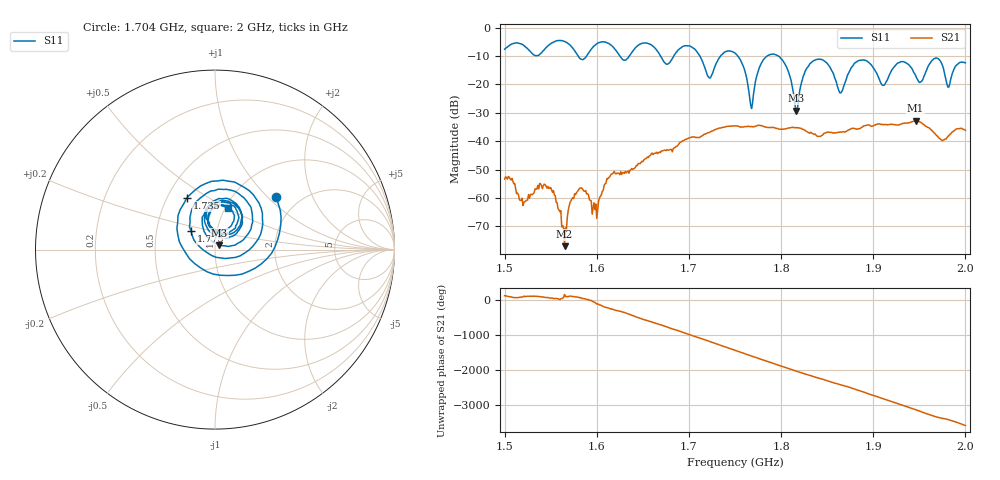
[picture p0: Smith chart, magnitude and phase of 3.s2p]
! NanoVNA-App by SYSJOINT et al v1.1.209 (+OD18)
! Date: 2026-01-21 14:45:28
! Start: 1,5GHz Stop: 2GHz Points: 501
! S-Parameter data: F S11 S21 S12 S22
# Hz S RI R 50
!  Frequency  S11_Real  S11_Imag  S21_Real  S21_Imag  S12_Real  S12_Imag  S22_Real  S22_Imag
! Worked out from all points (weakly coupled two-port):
!   501 points, 1.5 GHz to 2 GHz, reference 50 ohm
!   highest |S21| = -32.80 dB at 1.946 GHz (marker M1); lowest = -77.0 dB at 1.565 GHz (marker M2)
!   lowest |S11| = -29.3 dB at 1.816 GHz (marker M3), VSWR 1.07, Z = 52.4 + j2.59 ohm
!   |S11| at or under -10 dB: 1.712 GHz to 1.734 GHz (22.39 MHz wide, 1.3 % of centre); 1.753 GHz to 1.785 GHz (31.87 MHz wide, 1.8 % of centre); 1.797 GHz to end of sweep (the widest 3 of 6)
!   S12 and S22 are empty: the file has one direction only
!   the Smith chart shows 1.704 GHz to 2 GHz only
!   S11 on the Smith chart (normalised r, x): 1.704 GHz: 1.52, +1.12; 1.735 GHz: 0.63, +0.41; 1.775 GHz: 0.75, +0.16; 2 GHz: 1.03, +0.50
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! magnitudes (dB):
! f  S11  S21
! 1.5 GHz  -7.6  -53.3
! 1.522 GHz  -6.6  -61.3
! 1.551 GHz  -5.4  -57.2
! 1.565 GHz  -4.8  -77.0
! 1.584 GHz  -11.2  -56.6
! 1.6 GHz  -5.6  -67.2
! 1.617 GHz  -6.6  -51.5
! 1.667 GHz  -8.8  -44.0
! 1.704 GHz  -7.0  -38.5
! 1.722 GHz  -17.6  -36.9
! 1.735 GHz  -9.7  -35.3
! 1.75 GHz  -8.9  -34.6
! 1.767 GHz  -27.3  -34.9
! 1.775 GHz  -15.5  -34.4
! 1.799 GHz  -10.6  -35.8
! 1.816 GHz  -29.3  -35.2
! 1.834 GHz  -11.9  -37.3
! 1.864 GHz  -23.0  -36.8
! 1.885 GHz  -11.5  -35.6
! 1.917 GHz  -17.0  -34.2
! 1.946 GHz  -16.8  -32.8
! 2 GHz  -12.3  -36.2
